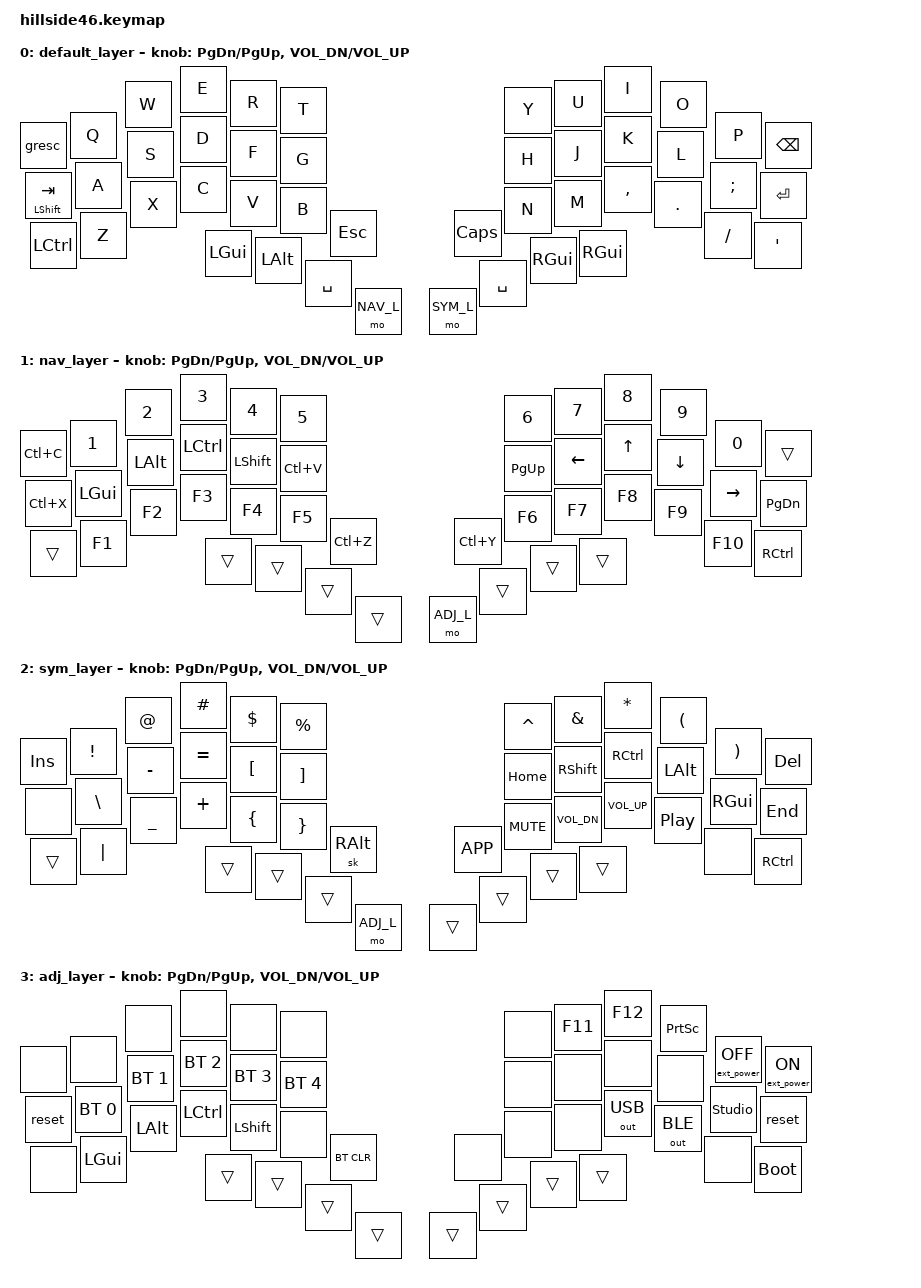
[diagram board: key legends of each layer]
/*
 * Copyright (c) 2021-2022 The ZMK Contributors
 *
 * SPDX-License-Identifier: MIT
 *
 *
 * My notes:
 * Maybe check out the sleep settings
 *
 */

#include <behaviors.dtsi>
#include <dt-bindings/zmk/bt.h>
#include <dt-bindings/zmk/ext_power.h>
#include <dt-bindings/zmk/keys.h>
#include <dt-bindings/zmk/outputs.h>

#define QWERTY_L 0
#define NAV_L    1
#define SYM_L    2
#define ADJ_L    3

#define Undo   LC(Z)
#define Cut    LC(X)
#define Copy   LC(C)
#define Paste  LC(V)
#define Redo   LC(Y)


/ {
        keymap {
                compatible = "zmk,keymap";

                default_layer {
/* QWERTY
 * -------------------------------------------------------------------------------------------------------------------------------------
 * | `     |   Q   |   W   |   E   |   R   |   T   |-----------------------------------|   Y   |   U   |   I   |   O   |   P   | BKSPC |
 * | TAB   |   A   |   S   |   D   |   F   |   G   |-----------------------------------|   H   |   J   |   K   |   L   |   ;   | ENTER |
 * | CTRL  |   Z   |   X   |   C   |   V   |   B   |  ESC  |-------------------|  CAPS |   N   |   M   |   ,   |   .   |   /   |   '   |
 *                                 |  GUI  |  ALT  | SPACE |  Nav  |---|  Sym  | SHIFT |  GUI  |  GUI  |
 */
                        bindings = <
&gresc         &kp  Q        &kp  W        &kp  E        &kp  R        &kp  T                                                                         &kp  Y        &kp  U        &kp  I        &kp  O        &kp  P        &kp  BSPC
&mt LSHIFT TAB &kp  A        &kp  S        &kp  D        &kp  F        &kp  G                                                                         &kp  H        &kp  J        &kp  K        &kp  L        &kp  SEMI     &kp  ENTER  
&kp  LCTRL     &kp  Z        &kp  X        &kp  C        &kp  V        &kp  B        &kp  ESC                                           &kp CAPS      &kp  N        &kp  M        &kp  COMMA    &kp  DOT      &kp  SLASH    &kp  SQT
                                                         &kp  LGUI     &kp  LALT     &kp SPACE    &mo  NAV_L            &mo  SYM_L      &kp  SPACE    &kp  RGUI     &kp  RGUI
                        >;
			
                        sensor-bindings = <&inc_dec_kp PG_DN PG_UP &inc_dec_kp C_VOL_DN C_VOL_UP>;
                };
		
		
                nav_layer {
/* NAV   
 * -------------------------------------------------------------------------------------------------------------------------------------
 * | Copy  |   1   |   2   |   3   |   4   |   5   |-----------------------------------|   6   |   7   |   8   |   9   |   0   | BSPC  |
 * | Cut   |  GUI  |  Alt  | Ctrl  | Shift | Paste |-----------------------------------| PG UP |  Left |  Up   |  Down | Right | PG DN |
 * | Ctrl  |  F1   |  F2   |  F3   |  F4   |  F5   |  UnDo |-------------------| ReDo  |  F6   |  F7   |  F8   |  F9   |  F10  | Ctrl  |
 *                                 |       |       |       |       |---| ADJ_L |       |       |       |
 */
                        bindings = <
&kp  Copy     &kp  N1       &kp  N2       &kp  N3       &kp  N4       &kp  N5                                                                        &kp   N6      &kp   N7      &kp   N8      &kp   N9      &kp  N0       &trans
&kp  Cut      &kp  LGUI     &kp  LALT     &kp  LCTRL    &kp  LSHFT    &kp  Paste                                                                     &kp   PG_UP   &kp  LEFT    &kp   UP      &kp   DOWN    &kp  RIGHT    &kp PG_DN
&trans        &kp  F1       &kp  F2       &kp  F3       &kp  F4       &kp  F5       &kp Undo                                           &kp  Redo     &kp   F6      &kp  F7      &kp   F8      &kp   F9      &kp  F10      &kp RCTRL
                                                        &trans        &trans        &trans        &trans                 &mo ADJ_L     &trans        &trans        &trans 
                        >;
			
                        sensor-bindings = <&inc_dec_kp PG_DN PG_UP &inc_dec_kp C_VOL_DN C_VOL_UP>;
                };

                sym_layer {
/* SYM
 * -------------------------------------------------------------------------------------------------------------------------------------
 * | INS   |   !   |   @   |   #   |   $   |   %   |-----------------------------------|   ^   |   &   |   *   |   (   |   )   | BSPC  |
 * |       |   \   |   -   |   =   |   [   |   ]   |-----------------------------------| HOME  | Shift | Ctrl  | Alt   | Gui   | END   |
 * | Ctrl  |   |   |   _   |   +   |   {   |   }   |SkAltGr|-------------------| MENU  | Mute  | Vol-  | Vol+  | Play  |       | Ctrl  |
 *                                 |       |       |       |  ADJ_L |---|      |       |       |       |
 */
                        bindings = <
&kp  INS      &kp  EXCL     &kp  AT       &kp  HASH     &kp  DOLLAR   &kp  PERCENT                                                                   &kp  CARET    &kp  AMPS     &kp  ASTRK    &kp  LPAR     &kp  RPAR     &kp DEL
&none         &kp  BSLH     &kp  MINUS    &kp  EQUAL    &kp  LBKT     &kp  RBKT                                                                      &kp  HOME     &kp  RSHFT    &kp  RCTRL    &kp  LALT     &kp  RGUI     &kp END
&trans        &kp  PIPE     &kp  UNDER    &kp  PLUS     &kp  LBRC     &kp  RBRC     &sk  RALT                                          &kp K_APP     &kp  C_MUTE   &kp  C_VOL_DN &kp  C_VOL_UP &kp  C_PP     &none         &kp RCTRL
                                                        &trans        &trans        &trans       &mo  ADJ_L               &trans       &trans        &trans        &trans
                        >;
			
                        sensor-bindings = <&inc_dec_kp PG_DN PG_UP &inc_dec_kp C_VOL_DN C_VOL_UP>;
                };
		
                adj_layer {
/* ADJUST
 * -------------------------------------------------------------------------------------------------------------------------------------
 * |       |       |       |       |       |       |-----------------------------------|       |  F11  |  F12  |Prt Scr|EP_OFF | EP_ON |
 * | RESET | BT 0  | BT 1  | BT 2  | BT 3  | BT 4  |-----------------------------------|       |       |       |       |STD ULK| RESET |
 * |       | LGUI  | LALT  | LCTRL | LSHIFT|       |BT CLR |-------------------|       |       |       |OUT_USB|OUT_BLE|       | BOOTL |
 *                                 |       |       |       |       |---|       |       |       |       |
 */
                        bindings = <
&none         &none         &none         &none         &none         &none                                                                             &none             &kp   F11          &kp   F12  &kp PRINTSCREEN   &ext_power EP_OFF  &ext_power EP_ON
&reset        &bt  BT_SEL 0 &bt  BT_SEL 1 &bt  BT_SEL 2 &bt  BT_SEL 3 &bt  BT_SEL 4                                                                     &none             &none              &none            &none       &studio_unlock     &reset
&none         &kp  LGUI     &kp  LALT     &kp  LCTRL    &kp LSHIFT    &none         &bt BT_CLR                                         &none            &none             &none              &out  OUT_USB    &out  OUT_BLE  &none           &bootloader
                                                        &trans        &trans        &trans        &trans                 &trans        &trans           &trans            &trans 
                        >;
			
                        sensor-bindings = <&inc_dec_kp PG_DN PG_UP &inc_dec_kp C_VOL_DN C_VOL_UP>;
                };
        };
};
